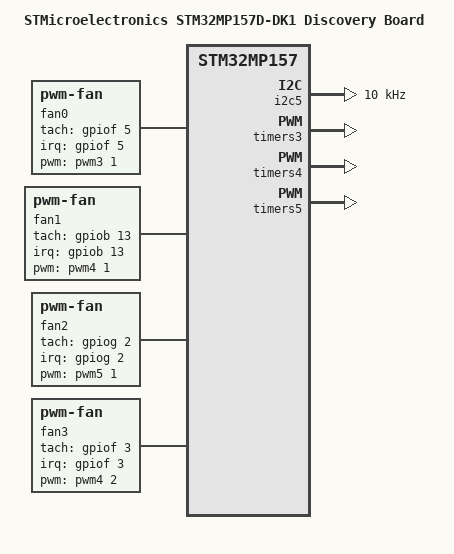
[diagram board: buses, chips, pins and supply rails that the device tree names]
// SPDX-License-Identifier: (GPL-2.0+ OR BSD-3-Clause)
/*
* Copyright (C) STMicroelectronics 2019 - All Rights Reserved
* Author: Alexandre Torgue <alexandre.torgue@st.com> for STMicroelectronics.
*/

/dts-v1/;

#include "stm32mp157.dtsi"
#include "stm32mp15xd.dtsi"
#include "stm32mp15-pinctrl.dtsi"
#include "stm32mp15xxac-pinctrl.dtsi"
#include "stm32mp15xx-dkx.dtsi"

/ {
	model = "STMicroelectronics STM32MP157D-DK1 Discovery Board";
	compatible = "st,stm32mp157d-dk1", "st,stm32mp157";

	aliases {
		ethernet0 = &ethernet0;
		i2c1 = &i2c1;
		i2c4 = &i2c4;
		i2c5 = &i2c5;
	};

	chosen {
		stdout-path = "serial0:115200n8";
	};

	fan0: pwm-fan0 {
		compatible = "pwm-fan";
		/* TIM3: Ch2, 25kHz, Normal polarity */
		pwms = <&pwm3 1 40000 0>;
		interrupts-extended = <&gpiof 5 IRQ_TYPE_EDGE_FALLING>;
		interrupt-names = "fan0-tach";
		tach-gpios = <&gpiof 5 (GPIO_ACTIVE_HIGH | GPIO_PULL_UP)>;
	};

	fan1: pwm-fan1 {
		compatible = "pwm-fan";
		/* TIM4: Ch2, 25kHz, Normal polarity */
		pwms = <&pwm4 1 40000 0>;
		interrupts-extended = <&gpiob 13 IRQ_TYPE_EDGE_FALLING>;
		interrupt-names = "fan1-tach";
		tach-gpios = <&gpiob 13 (GPIO_ACTIVE_HIGH | GPIO_PULL_UP)>;
	};

	fan2: pwm-fan2 {
		compatible = "pwm-fan";
		/* TIM5: Ch2, 25kHz, Normal polarity */
		pwms = <&pwm5 1 40000 0>;
		interrupts-extended = <&gpiog 2 IRQ_TYPE_EDGE_FALLING>;
		interrupt-names = "fan2-tach";
		tach-gpios = <&gpiog 2 (GPIO_ACTIVE_HIGH | GPIO_PULL_UP)>;
	};

	fan3: pwm-fan3 {
		compatible = "pwm-fan";
		/* TIM4: Ch3, 25kHz, Normal polarity */
		pwms = <&pwm4 2 40000 0>;
		interrupts-extended = <&gpiof 3 IRQ_TYPE_EDGE_FALLING>;
		interrupt-names = "fan3-tach";
		tach-gpios = <&gpiof 3 (GPIO_ACTIVE_HIGH | GPIO_PULL_UP)>;
	};
};

&i2c5 {
	pinctrl-names = "default", "sleep";
	pinctrl-0 = <&i2c5_pins_a>;
	pinctrl-1 = <&i2c5_sleep_pins_a>;
	clock-frequency = <10000>;
	status = "okay";
};

&timers3 {
	status = "okay";
	pwm3: pwm {
		pinctrl-0 = <&pwm3_pins_a>;
		pinctrl-1 = <&pwm3_sleep_pins_a>;
		pinctrl-names = "default", "sleep";
		status = "okay";
	};
	timer@2 {
		status = "okay";
	};
};

&timers4 {
	status = "okay";
	pwm4: pwm {
		pinctrl-0 = <&pwm4_pins_a &pwm4_pins_b>;
		pinctrl-1 = <&pwm4_sleep_pins_a &pwm4_sleep_pins_b>;
		pinctrl-names = "default", "sleep";
		status = "okay";
	};
	timer@3 {
		status = "okay";
	};
};

&timers5 {
	status = "okay";
	pwm5: pwm {
		pinctrl-0 = <&pwm5_pins_a>;
		pinctrl-1 = <&pwm5_sleep_pins_a>;
		pinctrl-names = "default", "sleep";
		status = "okay";
	};
	timer@4 {
		status = "okay";
	};
};

&gpioa {
	gpio-line-names =
	"PA0",
	"PA1",
	"PA2",
	"PA3",
	"PA4",
	"PA5",
	"PA6",
	"PA7",
	"PSU_EN_N",
	"PA9",
	"PA10",
	"PA11",
	"PA12",
	"PA13",
	"PA14",
	"PA15";
};
